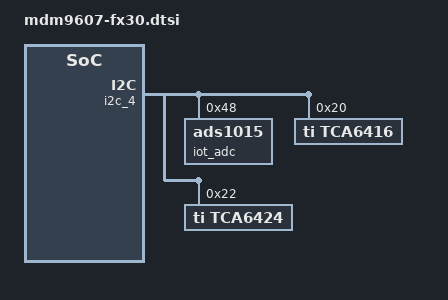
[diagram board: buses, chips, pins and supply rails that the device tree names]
/*
 * mdm9607-fx30.dtsi
 *
 *  Additional dts configuration for the FX30
 *
 * Copyright (c) 2016 - 2019 Sierra Wireless, Inc.
 *
 *  This program is free software; you can redistribute  it and/or modify it
 *  under  the terms of  the GNU General  Public License as published by the
 *  Free Software Foundation;  either version 2 of the  License, or (at your
 *  option) any later version.
 *
 */

/* I2C1_DAT, I2C1_CLK . */
&i2c_4 {
	/* For both FX30 and FX30S. IOT_ADC signal on CN600.P20->U401.ADC0 .
	   This is for external ADC ADS1015. By default I2C address of ADS1015
	   is 0x48.
	   This should not be in device tree, because this device may not be on
	   the board (at the present time, it is coming via IoT slot).
	*/
	iot_adc@48 {
		compatible = "ads1015";
		reg = <0x48>;
	};

	/* For FX30 only. TCA6416 I2C chip address = 0x20. */
	tca6416: gpio@20 {
		compatible = "ti,tca6416";
		reg = <0x20>;
		gpio-controller;
		#gpio-cells = <2>;
	};

	/* FX30S only. TCA6424 I2C chip address = 0x22. */
	tca6424: gpio@22 {
		compatible = "ti,tca6424";
		reg = <0x22>;
		gpio-controller;
		#gpio-cells = <2>;
	};
};

&sierra_gpio {

	/* Note for GPIO36 and GPIO38:
	   SWIMCU pinctrl is not defined inside the device tree,
           and we have to know SWIMCU gpio base address: 200
	   (see SWIMCU_GPIO_BASE in arch/arm/mach-msm/include/mach/swimcu.h)
	*/

	/*
	 * FX30 GPIOs
	 */

	/* GPIO2 */
	alias-FX30-DIGITAL_INPUT1_N = <&tlmm_pinmux 38 0>;
	/* GPIO7 */
	alias-FX30-PB_INPUT = <&tlmm_pinmux 16 0>;
	/* GPIO21 */
	alias-FX30-DIGITAL_INPUT2_N = <&tlmm_pinmux 8 0>;
	/* GPIO22 */
	alias-FX30-DIGITAL_INPUT3_N = <&tlmm_pinmux 9 0>;
	/* GPIO24 */
	alias-FX30-ON_OFF_MON_N = <&tlmm_pinmux 11 0>;
	/* GPIO25 */
	alias-FX30-IOT_DETECT = <&tlmm_pinmux 51 0>;
	/* GPIO29 */
	alias-FX30-GPIO29 = <&tlmm_pinmux 46 0>;
	/* GPIO32 */
	alias-FX30-HUB_ENABLE = <&tlmm_pinmux 77 0>;
	/* GPIO36 */
	alias-FX30-ULPM_WAKE1_36 = <200 0>;
	/* GPIO38 */
	alias-FX30-ULPM_WAKE1_38 = <202 0>;
	/* GPIO43 */
	alias-FX30-NETWORK_LED_RED = <&tca6416 0 0>;
	/* GPIO44 */
	alias-FX30-NETWORK_LED_GRN = <&tca6416 1 0>;
	/* GPIO45 */
	alias-FX30-SIGNAL_LED_RED = <&tca6416 2 0>;
	/* GPIO46 */
	alias-FX30-SIGNAL_LED_GRN = <&tca6416 3 0>;
	/* GPIO47 */
	alias-FX30-USER_LED_RED = <&tca6416 4 0>;
	/* GPIO48 */
	alias-FX30-USER_LED_GRN = <&tca6416 5 0>;
	/* GPIO49 */
	alias-FX30-POWER_LED_RED_N = <&tca6416 6 0>;
	/* GPIO50 */
	alias-FX30-POWER_LED_GRN = <&tca6416 7 0>;
	/* GPIO51 */
	alias-FX30-POWER_LED_MUX = <&tca6416 8 0>;
	/* GPIO52 */
	alias-FX30-GPS_BIAS_EN = <&tca6416 9 0>;
	/* GPIO53 */
	alias-FX30-IO_PULLUP_EN2 = <&tca6416 10 0>;
	/* GPIO54 */
	alias-FX30-IO_PULLUP_EN3 = <&tca6416 11 0>;
	/* GPIO55 */
	alias-FX30-ETH_DISABLE_N = <&tca6416 12 0>;
	/* GPIO56 */
	alias-FX30-DIGITAL_OUTPUT3 = <&tca6416 13 0>;
	/* GPIO57 */
	alias-FX30-IO_PULLUP_EN1 = <&tca6416 14 0>;
	/* GPIO58 */
	alias-FX30-POWER_HOLD = <&tca6416 15 0>;

	/*
	 * FX30S GPIOs
	 */

	/* GPIO2 */
	alias-FX30S-DIGITAL_INPUT1_N = <&tlmm_pinmux 38 0>;
	/* GPIO7 */
	alias-FX30S-PB_INPUT = <&tlmm_pinmux 16 0>;
	/* GPIO21 */
	alias-FX30S-DIGITAL_INPUT2_N = <&tlmm_pinmux 8 0>;
	/* GPIO22 */
	alias-FX30S-DIGITAL_INPUT3_N = <&tlmm_pinmux 9 0>;
	/* GPIO24 */
	alias-FX30S-ON_OFF_MON_N = <&tlmm_pinmux 11 0>;
	/* GPIO25 */
	alias-FX30S-IOT_DETECT = <&tlmm_pinmux 51 0>;
	/* GPIO29 */
	alias-FX30S-GPIO29 = <&tlmm_pinmux 46 0>;
	/* GPIO32 */
	alias-FX30S-HUB_ENABLE = <&tlmm_pinmux 77 0>;
	/* GPIO36 */
	alias-FX30S-ULPM_WAKE1_36 = <200 0>;
	/* GPIO38 */
	alias-FX30S-ULPM_WAKE1_38 = <202 0>;
	/* GPIO43 */
	alias-FX30S-NETWORK_LED_RED = <&tca6424 0 0>;
	/* GPIO44 */
	alias-FX30S-NETWORK_LED_GRN = <&tca6424 1 0>;
	/* GPIO45 */
	alias-FX30S-SIGNAL_LED_RED = <&tca6424 2 0>;
	/* GPIO46 */
	alias-FX30S-SIGNAL_LED_GRN = <&tca6424 3 0>;
	/* GPIO47 */
	alias-FX30S-USER_LED_RED = <&tca6424 4 0>;
	/* GPIO48 */
	alias-FX30S-USER_LED_GRN = <&tca6424 5 0>;
	/* GPIO49 */
	alias-FX30S-POWER_LED_RED_N = <&tca6424 6 0>;
	/* GPIO50 */
	alias-FX30S-POWER_LED_GRN = <&tca6424 7 0>;
	/* GPIO51 */
	alias-FX30S-POWER_LED_MUX = <&tca6424 8 0>;
	/* GPIO52 */
	alias-FX30S-GPS_BIAS_EN = <&tca6424 9 0>;
	/* GPIO53 */
	alias-FX30S-IO_PULLUP_EN2 = <&tca6424 10 0>;
	/* GPIO54 */
	alias-FX30S-IO_PULLUP_EN3 = <&tca6424 11 0>;
	/* GPIO55 */
	alias-FX30S-GPIO55 = <&tca6424 12 0>;
	/* GPIO56 */
	alias-FX30S-DIGITAL_OUTPUT3 = <&tca6424 13 0>;
	/* GPIO57 */
	alias-FX30S-IO_PULLUP_EN1 = <&tca6424 14 0>;
	/* GPIO58 */
	alias-FX30S-POWER_HOLD = <&tca6424 15 0>;
	/* GPIO59: Handeled in RS485 driver */
	/* alias-FX30S-FORCEOFF_RS232_N = <&tca6424 16 0>; */
	/* GPIO60 */
	alias-FX30S-RS485_OUT_EN = <&tca6424 17 0>;
	/* GPIO61 */
	alias-FX30S-RS485_IN_EN_N = <&tca6424 18 0>;
	/* GPIO62 */
	alias-FX30S-RS485_POL_N = <&tca6424 19 0>;
	/* GPIO63: Handeled in RS485 driver */
	/* alias-FX30S-RS485_TERM_N = <&tca6424 20 0>; */
	/* GPIO64 */
	alias-FX30S-GPIO64 = <&tca6424 21 0>;
	/* GPIO65 */
	alias-FX30S-GPIO65 = <&tca6424 22 0>;
	/* GPIO66 */
	alias-FX30S-GPIO66 = <&tca6424 23 0>;
};

